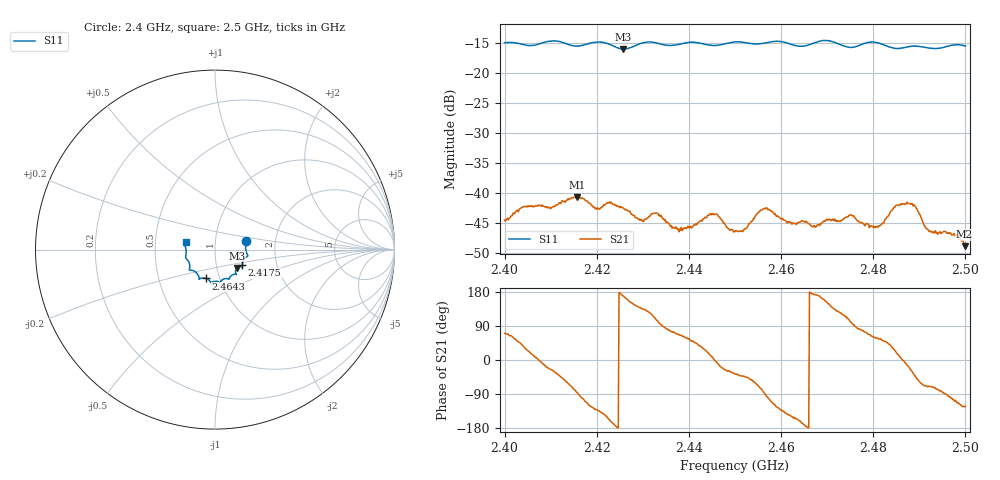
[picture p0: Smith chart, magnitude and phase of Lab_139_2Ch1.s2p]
# Hz S RI R 50
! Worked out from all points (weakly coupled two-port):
!   601 points, 2.4 GHz to 2.5 GHz, reference 50 ohm
!   highest |S21| = -40.62 dB at 2.4157 GHz (marker M1); lowest = -48.8 dB at 2.4998 GHz (marker M2)
!   lowest |S11| = -15.9 dB at 2.4257 GHz (marker M3), VSWR 1.38, Z = 62.4 - j13.1 ohm
!   |S11| at or under -10 dB: start of sweep to end of sweep
!   S12 and S22 are empty: the file has one direction only
!   S11 on the Smith chart (normalised r, x): 2.4 GHz: 1.41, +0.14; 2.4175 GHz: 1.34, -0.23; 2.4643 GHz: 0.86, -0.28; 2.5 GHz: 0.72, +0.06
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2.4e9  0.1734 0.0486  0.00204 0.00563  0 0  0 0
2.404167e9  0.1721 0.0235  0.00638 0.00443  0 0  0 0
2.415667e9  0.1565 -0.0628  0.000697 -0.00928  0 0  0 0
2.416667e9  0.1533 -0.0748  -0.00132 -0.00901  0 0  0 0
2.4175e9  0.1522 -0.0842  -0.0029 -0.00824  0 0  0 0
2.420167e9  0.154 -0.098  -0.00503 -0.00548  0 0  0 0
2.425667e9  0.1224 -0.1024  -0.00746 0.0014  0 0  0 0
2.429667e9  0.1167 -0.1347  -0.00436 0.00421  0 0  0 0
2.433333e9  0.1131 -0.1375  -0.00129 0.00662  0 0  0 0
2.438167e9  0.0818 -0.1555  0.00203 0.00449  0 0  0 0
2.445667e9  0.0501 -0.1636  0.00666 -0.000216  0 0  0 0
2.45e9  0.0287 -0.181  0.0038 -0.00291  0 0  0 0
2.4565e9  -0.0102 -0.1789  0.000105 -0.00746  0 0  0 0
2.464333e9  -0.05 -0.1607  -0.00559 -0.00166  0 0  0 0
2.466667e9  -0.0762 -0.1593  -0.00526 0.000491  0 0  0 0
2.475167e9  -0.1077 -0.1247  -0.00119 0.00654  0 0  0 0
2.480667e9  -0.1432 -0.111  0.00277 0.00452  0 0  0 0
2.483333e9  -0.1407 -0.0899  0.00479 0.00444  0 0  0 0
2.488333e9  -0.1615 -0.0483  0.00719 -0.00401  0 0  0 0
2.491833e9  -0.1612 -0.027  0.00167 -0.00475  0 0  0 0
2.499833e9  -0.1649 0.0417  -0.002 -0.00302  0 0  0 0
2.5e9  -0.1639 0.0427  -0.00201 -0.0032  0 0  0 0
